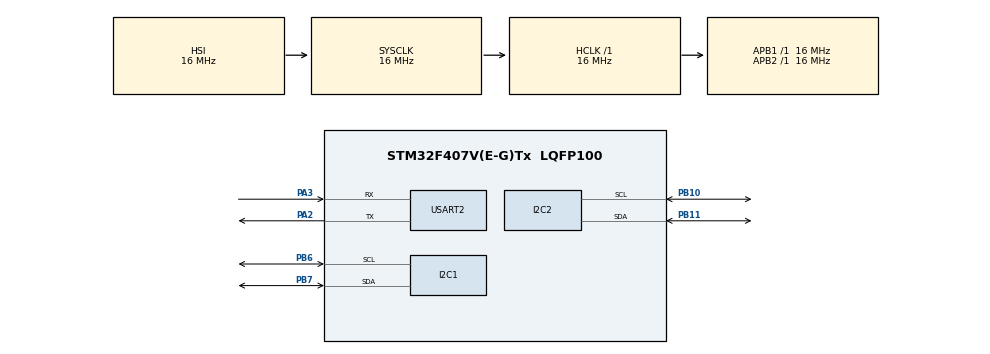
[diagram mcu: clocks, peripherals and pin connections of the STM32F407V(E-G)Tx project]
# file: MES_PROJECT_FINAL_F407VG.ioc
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Mcu.Family=STM32F4
Mcu.Name=STM32F407V(E-G)Tx
Mcu.Package=LQFP100
NVIC.PriorityGroup=NVIC_PRIORITYGROUP_4
NVIC.TIM1_BRK_TIM9_IRQn=true\:0\:0\:false\:false\:true\:true\:true
PA2.Mode=Asynchronous
PA2.Signal=USART2_TX
PA3.Mode=Asynchronous
PA3.Signal=USART2_RX
PB10.Mode=I2C
PB10.Signal=I2C2_SCL
PB11.Mode=I2C
PB11.Signal=I2C2_SDA
PB6.Mode=I2C
PB6.Signal=I2C1_SCL
PB7.Mode=I2C
PB7.Signal=I2C1_SDA
ProjectManager.HeapSize=0x200
ProjectManager.StackSize=0x400
ProjectManager.TargetToolchain=STM32CubeIDE
RCC.AHBFreq_Value=16000000
RCC.APB1Freq_Value=16000000
RCC.APB2Freq_Value=16000000
RCC.CortexFreq_Value=16000000
RCC.HSE_VALUE=25000000
RCC.HSI_VALUE=16000000
RCC.LSE_VALUE=32768
RCC.SYSCLKFreq_VALUE=16000000
RCC.VCOOutputFreq_Value=192000000
USART2.VirtualMode=VM_ASYNC
VP_TIM9_VS_ClockSourceINT.Mode=Internal
board=custom

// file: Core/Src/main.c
/* USER CODE BEGIN Header */
/**
  ******************************************************************************
  * @file           : main.c
  * @brief          : Main program body
  ******************************************************************************
  * @attention
  *
  * <h2><center>&copy; Copyright (c) 2021 STMicroelectronics.
  * All rights reserved.</center></h2>
  *
  * This software component is licensed by ST under BSD 3-Clause license,
  * the "License"; You may not use this file except in compliance with the
  * License. You may obtain a copy of the License at:
  *                        opensource.org/licenses/BSD-3-Clause
  *
  ******************************************************************************
  */
/* USER CODE END Header */
#include "main.h"

/* USER CODE BEGIN PTD */

#ifdef __GNUC__
  /* With GCC, small printf (option LD Linker->Libraries->Small printf
     set to 'Yes') calls __io_putchar() */
  #define PUTCHAR_PROTOTYPE int __io_putchar(int ch)
#else
  #define PUTCHAR_PROTOTYPE int fputc(int ch, FILE *f)
#endif /* __GNUC__ */

/* USER CODE END PTD */

/* USER CODE BEGIN PD */
#define STEPPER_MOTOR1 0
/* USER CODE END PD */

I2C_HandleTypeDef hi2c1;
I2C_HandleTypeDef hi2c2;

TIM_HandleTypeDef htim9;

UART_HandleTypeDef huart2;

void SystemClock_Config(void);
static void MX_GPIO_Init(void);
static void MX_I2C1_Init(void);
static void MX_TIM9_Init(void);
static void MX_USART2_UART_Init(void);
static void MX_I2C2_Init(void);

/* USER CODE BEGIN 0 */

RawData_Def myAccelRaw, myGyroRaw;
ScaledData_Def myAccelScaled, myGyroScaled;

/* USER CODE END 0 */

int main(void)
{

  /* MCU Configuration--------------------------------------------------------*/

  /* Reset of all peripherals, Initializes the Flash interface and the Systick. */
  HAL_Init();

  /* Configure the system clock */
  SystemClock_Config();

  /* Initialize all configured peripherals */
  MX_GPIO_Init();
  MX_I2C1_Init();
  MX_TIM9_Init();
  MX_USART2_UART_Init();
  MX_I2C2_Init();
  /* USER CODE BEGIN 2 */

	STEPPERS_Init_TMR(&htim9);
	//STEPPER_SetSpeed(STEPPER_MOTOR1, 14);
	//STEPPER_Step_NonBlocking(STEPPER_MOTOR1, 500, DIR_CW);
	//STEPPER_Step_NonBlocking(STEPPER_MOTOR1, 5000, DIR_CCW);

	MPU_ConfigTypeDef myMpuConfig;

	//1. Initialise the MPU6050 module and I2C
	MPU6050_Init(&hi2c2);
	//2. Configure Accel and Gyro parameters
	myMpuConfig.Accel_Full_Scale = AFS_SEL_4g;
	myMpuConfig.ClockSource = Internal_8MHz;
	myMpuConfig.CONFIG_DLPF = DLPF_184A_188G_Hz;
	myMpuConfig.Gyro_Full_Scale = FS_SEL_500;
	myMpuConfig.Sleep_Mode_Bit = 0;  //1: sleep mode, 0: normal mode
	MPU6050_Config(&myMpuConfig);
  /* USER CODE END 2 */

  /* Infinite loop */
  /* USER CODE BEGIN WHILE */
  while (1)
  {
	//Scaled data
	MPU6050_Get_Accel_Scale(&myAccelScaled);
	MPU6050_Get_Gyro_Scale(&myGyroScaled);

	printf("gx = %.4f	gy = %.4f	gz = %.4f\r\n", myGyroScaled.x, myGyroScaled.y, myGyroScaled.z);
	//HAL_Delay(10);
	//printf("ax = %.4f	ay = %.4f	az = %.4f\r\n", myAccelScaled.x, myAccelScaled.y, myAccelScaled.z);

	HAL_Delay(100);

	if(myGyroScaled.x >= 50)
	{
		if(myGyroScaled.x >= 100)
		{
			STEPPER_SetSpeed(STEPPER_MOTOR1, 30);
			STEPPER_Step_NonBlocking(STEPPER_MOTOR1, 100, DIR_CW);
		}
		else
		{
			STEPPER_SetSpeed(STEPPER_MOTOR1, 10);
			STEPPER_Step_NonBlocking(STEPPER_MOTOR1, 100, DIR_CW);
		}
	}
	else if(myGyroScaled.x <= -50)
	{
		if(myGyroScaled.x <= -100)
		{
			STEPPER_SetSpeed(STEPPER_MOTOR1, 30);
			STEPPER_Step_NonBlocking(STEPPER_MOTOR1, 100, DIR_CCW);
		}
		else
		{
			STEPPER_SetSpeed(STEPPER_MOTOR1, 10);
			STEPPER_Step_NonBlocking(STEPPER_MOTOR1, 100, DIR_CCW);
		}
	}
    /* USER CODE END WHILE */

  }
}

void SystemClock_Config(void)
{
  RCC_OscInitTypeDef RCC_OscInitStruct = {0};
  RCC_ClkInitTypeDef RCC_ClkInitStruct = {0};

  /** Configure the main internal regulator output voltage
  */
  __HAL_RCC_PWR_CLK_ENABLE();
  __HAL_PWR_VOLTAGESCALING_CONFIG(PWR_REGULATOR_VOLTAGE_SCALE1);
  /** Initializes the RCC Oscillators according to the specified parameters
  * in the RCC_OscInitTypeDef structure.
  */
  RCC_OscInitStruct.OscillatorType = RCC_OSCILLATORTYPE_HSI;
  RCC_OscInitStruct.HSIState = RCC_HSI_ON;
  RCC_OscInitStruct.HSICalibrationValue = RCC_HSICALIBRATION_DEFAULT;
  RCC_OscInitStruct.PLL.PLLState = RCC_PLL_NONE;
  if (HAL_RCC_OscConfig(&RCC_OscInitStruct) != HAL_OK)
  {
    Error_Handler();
  }
  /** Initializes the CPU, AHB and APB buses clocks
  */
  RCC_ClkInitStruct.ClockType = RCC_CLOCKTYPE_HCLK|RCC_CLOCKTYPE_SYSCLK
                              |RCC_CLOCKTYPE_PCLK1|RCC_CLOCKTYPE_PCLK2;
  RCC_ClkInitStruct.SYSCLKSource = RCC_SYSCLKSOURCE_HSI;
  RCC_ClkInitStruct.AHBCLKDivider = RCC_SYSCLK_DIV1;
  RCC_ClkInitStruct.APB1CLKDivider = RCC_HCLK_DIV1;
  RCC_ClkInitStruct.APB2CLKDivider = RCC_HCLK_DIV1;

  if (HAL_RCC_ClockConfig(&RCC_ClkInitStruct, FLASH_LATENCY_0) != HAL_OK)
  {
    Error_Handler();
  }
}

static void MX_I2C1_Init(void)
{

  hi2c1.Instance = I2C1;
  hi2c1.Init.ClockSpeed = 100000;
  hi2c1.Init.DutyCycle = I2C_DUTYCYCLE_2;
  hi2c1.Init.OwnAddress1 = 0;
  hi2c1.Init.AddressingMode = I2C_ADDRESSINGMODE_7BIT;
  hi2c1.Init.DualAddressMode = I2C_DUALADDRESS_DISABLE;
  hi2c1.Init.OwnAddress2 = 0;
  hi2c1.Init.GeneralCallMode = I2C_GENERALCALL_DISABLE;
  hi2c1.Init.NoStretchMode = I2C_NOSTRETCH_DISABLE;
  if (HAL_I2C_Init(&hi2c1) != HAL_OK)
  {
    Error_Handler();
  }

}

static void MX_I2C2_Init(void)
{

  hi2c2.Instance = I2C2;
  hi2c2.Init.ClockSpeed = 100000;
  hi2c2.Init.DutyCycle = I2C_DUTYCYCLE_2;
  hi2c2.Init.OwnAddress1 = 0;
  hi2c2.Init.AddressingMode = I2C_ADDRESSINGMODE_7BIT;
  hi2c2.Init.DualAddressMode = I2C_DUALADDRESS_DISABLE;
  hi2c2.Init.OwnAddress2 = 0;
  hi2c2.Init.GeneralCallMode = I2C_GENERALCALL_DISABLE;
  hi2c2.Init.NoStretchMode = I2C_NOSTRETCH_DISABLE;
  if (HAL_I2C_Init(&hi2c2) != HAL_OK)
  {
    Error_Handler();
  }

}

static void MX_TIM9_Init(void)
{

  TIM_ClockConfigTypeDef sClockSourceConfig = {0};

  htim9.Instance = TIM9;
  htim9.Init.Prescaler = 0;
  htim9.Init.CounterMode = TIM_COUNTERMODE_UP;
  htim9.Init.Period = 65535;
  htim9.Init.ClockDivision = TIM_CLOCKDIVISION_DIV1;
  htim9.Init.AutoReloadPreload = TIM_AUTORELOAD_PRELOAD_DISABLE;
  if (HAL_TIM_Base_Init(&htim9) != HAL_OK)
  {
    Error_Handler();
  }
  sClockSourceConfig.ClockSource = TIM_CLOCKSOURCE_INTERNAL;
  if (HAL_TIM_ConfigClockSource(&htim9, &sClockSourceConfig) != HAL_OK)
  {
    Error_Handler();
  }

}

static void MX_USART2_UART_Init(void)
{

  huart2.Instance = USART2;
  huart2.Init.BaudRate = 115200;
  huart2.Init.WordLength = UART_WORDLENGTH_8B;
  huart2.Init.StopBits = UART_STOPBITS_1;
  huart2.Init.Parity = UART_PARITY_NONE;
  huart2.Init.Mode = UART_MODE_TX_RX;
  huart2.Init.HwFlowCtl = UART_HWCONTROL_NONE;
  huart2.Init.OverSampling = UART_OVERSAMPLING_16;
  if (HAL_UART_Init(&huart2) != HAL_OK)
  {
    Error_Handler();
  }

}

static void MX_GPIO_Init(void)
{

  /* GPIO Ports Clock Enable */
  __HAL_RCC_GPIOA_CLK_ENABLE();
  __HAL_RCC_GPIOB_CLK_ENABLE();

}

/* USER CODE BEGIN 4 */

void HAL_TIM_PeriodElapsedCallback(TIM_HandleTypeDef* htim)
{
    STEPPER_TMR_OVF_ISR(htim);
}

PUTCHAR_PROTOTYPE
{
  /* Place your implementation of fputc here */
  /* e.g. write a character to the EVAL_COM1 and Loop until the end of transmission */
  HAL_UART_Transmit(&huart2, (uint8_t *)&ch, 1, 0xFFFF);

  return ch;
}

/* USER CODE END 4 */

void Error_Handler(void)
{
  __disable_irq();
  while (1)
  {
  }
}

/************************ (C) COPYRIGHT STMicroelectronics *****END OF FILE****/
